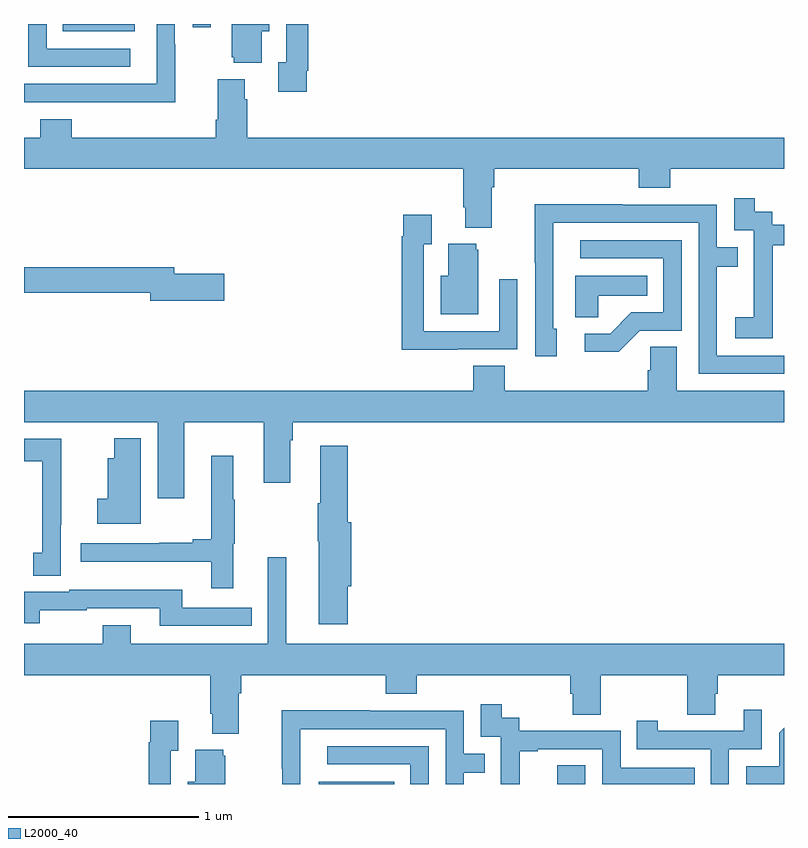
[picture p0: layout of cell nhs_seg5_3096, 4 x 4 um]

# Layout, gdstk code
import gdstk
lib = gdstk.Library(unit=1e-6, precision=1e-09)
def R(c, l, rs):  # rectangles x0, y0, x1, y1
    for r in rs: c.add(gdstk.rectangle(r[:2], r[2:], *l))
def P(c, l, *ps):  # polygons
    for p in ps: c.add(gdstk.Polygon(p, *l))
L2000_40 = (2000, 40)

nhs_seg5_3096 = lib.new_cell('nhs_seg5_3096')
R(nhs_seg5_3096, L2000_40, [(290.552,910.799,290.948,910.81), (291.807,910.799,291.954,910.897), (289.204,914.762,289.582,914.799), (289.887,914.781,289.983,914.799)])
P(nhs_seg5_3096, L2000_40, [(290.488,914.554),(290.495,914.554),(290.495,914.799),(290.379,914.799),(290.379,914.598),(290.339,914.598),(290.339,914.442),(290.488,914.442)],
  [(290.251,914.762),(290.29,914.762),(290.29,914.799),(290.093,914.799),(290.093,914.625),(290.105,914.625),(290.105,914.594),(290.251,914.594)],
  [(289.797,914.693),(289.794,914.693),(289.794,914.799),(289.698,914.799),(289.698,914.484),(289,914.484),(289,914.388),(289.333,914.388),(289.333,914.387),(289.797,914.387)],
  [(289.558,914.67),(289.119,914.67),(289.119,914.799),(289.023,914.799),(289.023,914.574),(289.558,914.574)],
  [(291.463,913.94),(291.476,913.94),(291.476,914.036),(292.235,914.036),(292.235,913.937),(292.4,913.937),(292.4,914.036),(293,914.036),(293,914.2),(290.174,914.2),(290.174,914.402),(290.161,914.402),(290.161,914.509),(290.021,914.509),(290.021,914.296),(290.009,914.296),(290.009,914.2),(289.25,914.2),(289.25,914.299),(289.085,914.299),(289.085,914.2),(289,914.2),(289,914.036),(291.311,914.036),(291.311,913.834),(291.323,913.834),(291.323,913.727),(291.463,913.727)],
  [(292.941,913.351),(292.94,913.351),(292.94,913.635),(293,913.635),(293,913.743),(292.938,913.743),(292.938,913.812),(292.846,913.812),(292.846,913.882),(292.737,913.882),(292.737,913.713),(292.842,913.713),(292.842,913.484),(292.841,913.484),(292.841,913.255),(292.743,913.255),(292.743,913.145),(292.941,913.145)],
  [(293,913.053),(292.647,913.053),(292.647,913.522),(292.757,913.522),(292.757,913.623),(292.647,913.623),(292.647,913.848),(292.151,913.848),(292.151,913.85),(291.688,913.85),(291.688,913.543),(291.69,913.543),(291.69,913.05),(291.805,913.05),(291.805,913.194),(291.786,913.194),(291.786,913.752),(292.551,913.752),(292.551,912.957),(293,912.957)],
  [(291.281,913.086),(291.597,913.086),(291.597,913.456),(291.501,913.456),(291.501,913.182),(291.105,913.182),(291.105,913.639),(291.145,913.639),(291.145,913.795),(290.997,913.795),(290.997,913.682),(290.989,913.682),(290.989,913.085),(291.281,913.085)],
  [(292.242,913.185),(292.461,913.185),(292.461,913.662),(291.927,913.662),(291.927,913.566),(292.365,913.566),(292.365,913.281),(292.196,913.281),(292.085,913.17),(291.951,913.17),(291.951,913.073),(292.129,913.073)],
  [(291.391,913.611),(291.38,913.611),(291.38,913.642),(291.233,913.642),(291.233,913.474),(291.194,913.474),(291.194,913.271),(291.391,913.271)],
  [(290.053,913.484),(289.792,913.484),(289.792,913.52),(289,913.52),(289,913.384),(289.664,913.384),(289.664,913.342),(290.053,913.342)],
  [(292.023,913.37),(292.28,913.37),(292.28,913.474),(291.902,913.474),(291.902,913.255),(292.023,913.255)],
  [(289.843,912.704),(290.261,912.704),(290.261,912.384),(290.401,912.384),(290.401,912.608),(290.414,912.608),(290.414,912.704),(293,912.704),(293,912.868),(292.435,912.868),(292.435,913.1),(292.296,913.1),(292.296,912.977),(292.283,912.977),(292.283,912.868),(291.53,912.868),(291.53,913.001),(291.365,913.001),(291.365,912.868),(289,912.868),(289,912.704),(289.703,912.704),(289.703,912.303),(289.843,912.303)],
  [(289.615,912.619),(289.475,912.619),(289.475,912.514),(289.442,912.514),(289.442,912.3),(289.386,912.3),(289.386,912.17),(289.615,912.17)],
  [(289.194,912.163),(289.197,912.163),(289.197,912.616),(289,912.616),(289,912.515),(289.001,912.515),(289.001,912.498),(289.097,912.498),(289.097,912.015),(289.048,912.015),(289.048,911.896),(289.194,911.896)],
  [(290.705,911.841),(290.723,911.841),(290.723,912.177),(290.705,912.177),(290.705,912.58),(290.558,912.58),(290.558,912.277),(290.545,912.277),(290.545,912.077),(290.552,912.077),(290.552,911.64),(290.705,911.64)],
  [(290.101,912.063),(290.109,912.063),(290.109,912.296),(290.101,912.296),(290.101,912.526),(289.985,912.526),(289.985,912.086),(289.889,912.086),(289.889,912.069),(289.711,912.069),(289.711,912.066),(289.299,912.066),(289.299,911.969),(289.985,911.969),(289.985,911.829),(290.101,911.829)],
  [(290.131,911.276),(290.144,911.276),(290.144,911.372),(290.903,911.372),(290.903,911.273),(291.068,911.273),(291.068,911.372),(291.875,911.372),(291.875,911.274),(291.887,911.274),(291.887,911.164),(292.035,911.164),(292.035,911.372),(292.492,911.372),(292.492,911.164),(292.639,911.164),(292.639,911.274),(292.652,911.274),(292.652,911.372),(293,911.372),(293,911.536),(290.38,911.536),(290.38,911.992),(290.283,911.992),(290.283,911.536),(289.561,911.536),(289.561,911.635),(289.414,911.635),(289.414,911.536),(289,911.536),(289,911.372),(289.979,911.372),(289.979,911.17),(289.991,911.17),(289.991,911.063),(290.131,911.063)],
  [(290.198,911.727),(289.834,911.727),(289.834,911.821),(289.239,911.821),(289.239,911.811),(289,911.811),(289,911.645),(289.083,911.645),(289.083,911.714),(289.329,911.714),(289.329,911.724),(289.715,911.724),(289.715,911.631),(290.198,911.631)],
  [(291.608,910.971),(291.703,910.971),(291.703,910.983),(292.044,910.983),(292.044,910.799),(292.529,910.799),(292.529,910.884),(292.14,910.884),(292.14,911.079),(291.606,911.079),(291.606,911.148),(291.514,911.148),(291.514,911.218),(291.405,911.218),(291.405,911.049),(291.51,911.049),(291.51,910.82),(291.509,910.82),(291.509,910.799),(291.608,910.799)],
  [(292.71,910.983),(292.884,910.983),(292.884,911.191),(292.787,911.191),(292.787,911.079),(292.336,911.079),(292.336,911.131),(292.225,911.131),(292.225,910.983),(292.614,910.983),(292.614,910.799),(292.71,910.799)],
  [(290.454,910.858),(290.455,910.858),(290.455,911.088),(291.219,911.088),(291.219,910.799),(291.315,910.799),(291.315,910.858),(291.425,910.858),(291.425,910.959),(291.315,910.959),(291.315,911.184),(290.819,911.184),(290.819,911.186),(290.356,911.186),(290.356,910.879),(290.358,910.879),(290.358,910.799),(290.454,910.799)],
  [(289.773,910.975),(289.813,910.975),(289.813,911.131),(289.665,911.131),(289.665,911.018),(289.657,911.018),(289.657,910.799),(289.773,910.799)],
  [(293,911.096),(292.974,911.07),(292.974,910.893),(292.8,910.893),(292.8,910.799),(293,910.799)],
  [(291.129,910.998),(290.595,910.998),(290.595,910.902),(291.033,910.902),(291.033,910.799),(291.129,910.799)],
  [(290.059,910.947),(290.048,910.947),(290.048,910.978),(289.901,910.978),(289.901,910.81),(289.862,910.81),(289.862,910.799),(290.059,910.799)])

lib.write_gds('nhs_seg5_3096.gds')
